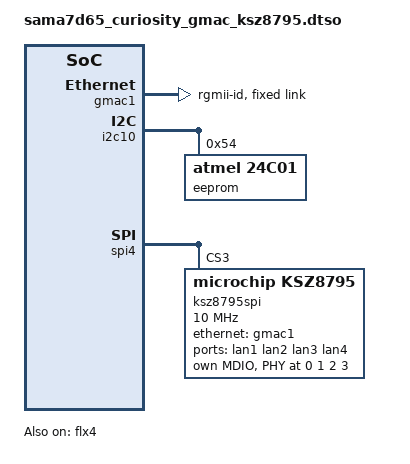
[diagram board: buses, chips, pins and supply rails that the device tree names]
// SPDX-License-Identifier: (GPL-2.0+ OR MIT)
/*
 * Device Tree file for SAMA7D65 CURIOSITY board overlay blob supporting the
 * KSZ8795 5-port 10/100 switch Daughter Card using SPI and RGMII.
 *
 * Copyright (C) 2025 Microchip Technology Inc. and its subsidiaries
 *
 * Author: Jerry Ray <jerry.ray@microchip.com>
 *
 * Refer to the EV40P40A (KSZ8795-EDS2 daughter card)
 *
 */
/dts-v1/;
/plugin/;
#include "sama7d65-pinfunc.h"
#include <dt-bindings/mfd/atmel-flexcom.h>
#include <dt-bindings/clock/at91.h>
#include <dt-bindings/pinctrl/at91.h>
#include <dt-bindings/gpio/gpio.h>
#include <dt-bindings/interrupt-controller/irq.h>

&{/}
{
	model = "Microchip SAMA7D65 Curiosity KSZ8795 5-port Switch";
};

&flx4 {
	atmel,flexcom-mode = <ATMEL_FLEXCOM_MODE_SPI>;
	status = "okay";
};

&gmac1 {
	phy-mode = "rgmii-id";
	status = "okay";

	fixed-link {
		speed = <1000>;
		full-duplex;
		pause;
	};

	ethernet-phy@1 {
		status = "disabled";
	};
};

&i2c10 {
	#address-cells = <1>;
	#size-cells = <0>;
	dmas = <0>, <0>;
	status = "okay";

	eeprom@54 {
		compatible = "atmel,24c01";
		reg = <0x54>;
		pagesize = <8>;
		status = "okay";
	};
};

&pioA {
	pinctrl_spi4_default: spi4-default{
		pinmux = <PIN_PA18__FLEXCOM4_IO0>,	/* MOSI */
			 <PIN_PA17__FLEXCOM4_IO1>,	/* MISO */
			 <PIN_PA16__FLEXCOM4_IO2>,	/* SPCK */
			 <PIN_PA15__FLEXCOM4_IO3>,	/* CS0 */
			 <PIN_PA14__FLEXCOM4_IO4>,	/* CS1 */
			 <PIN_PA19__FLEXCOM4_IO5>,	/* CS2 */
			 <PIN_PA20__FLEXCOM4_IO6>;	/* CS3 */
		bias-disable;
	};
};

&spi4 {
	#address-cells = <1>;
	#size-cells = <0>;
	pinctrl-names = "default";
	pinctrl-0 = <&pinctrl_spi4_default>;
	status = "okay";

	ksz8795spi: ksz8795-switch@3 {
		compatible = "microchip,ksz8795";
		reg = <3>;
	//	interrupt-parent = <&pioA>;
	//	interrupts = <PIN_PE3 IRQ_TYPE_LEVEL_LOW>;
		spi-max-frequency = <10000000>;		/* 10MHz until proven */
		spi-cpha;
		spi-cpol;
		status = "okay";

		ports {
			#address-cells = <1>;
			#size-cells = <0>;
			port@0 {
				reg = <0>;
				label = "lan1";
				phy-handle = <&swphy0>;
			};
			port@1 {
				reg = <1>;
				label = "lan2";
				phy-handle = <&swphy1>;
			};
			port@2 {
				reg = <2>;
				label = "lan3";
				phy-handle = <&swphy2>;
			};
			port@3 {
				reg = <3>;
				label = "lan4";
				phy-handle = <&swphy3>;
			};
			port@4 {
				reg = <4>;
				phy-mode = "rgmii-id";
				rx-internal-delay-ps = <2000>;
				tx-internal-delay-ps = <2000>;
				ethernet = <&gmac1>;
				fixed-link {
					speed = <1000>;
					full-duplex;
					pause;
				};
			};
		};
		mdio {
			#address-cells = <1>;
			#size-cells = <0>;
			swphy0: ethernet-phy@0 {
				reg = <0>;
				eee-broken-100tx;
				max-speed = <100>;
			};
			swphy1: ethernet-phy@1 {
				reg = <1>;
				eee-broken-100tx;
				max-speed = <100>;
			};
			swphy2: ethernet-phy@2 {
				reg = <2>;
				eee-broken-100tx;
				max-speed = <100>;
			};
			swphy3: ethernet-phy@3 {
				reg = <3>;
				eee-broken-100tx;
				max-speed = <100>;
			};
		};
	};
};
